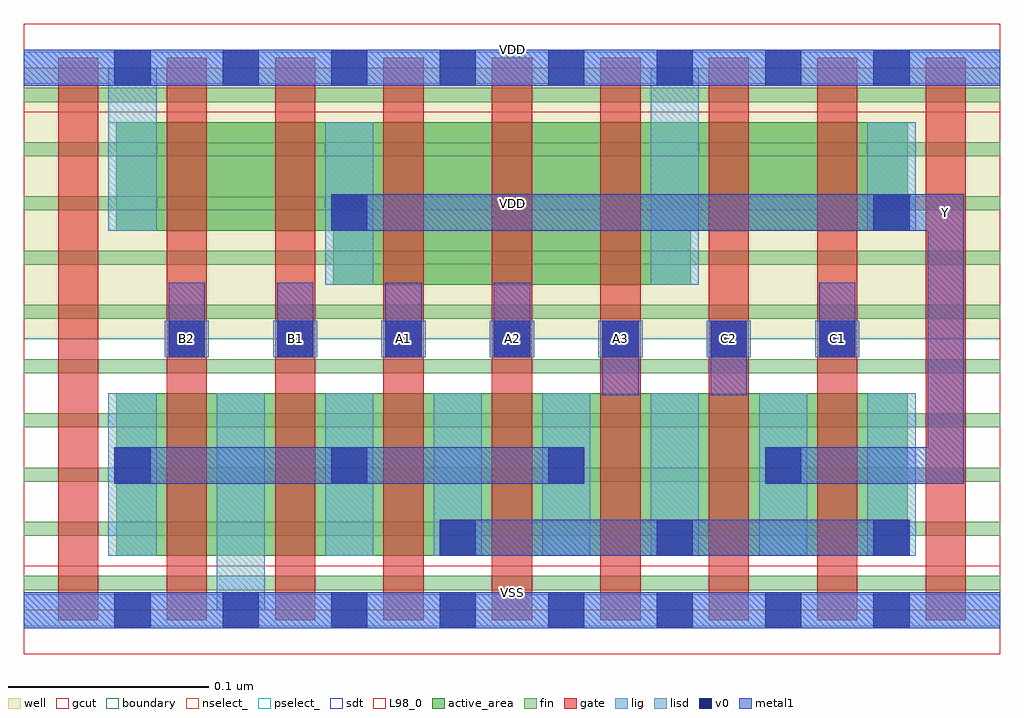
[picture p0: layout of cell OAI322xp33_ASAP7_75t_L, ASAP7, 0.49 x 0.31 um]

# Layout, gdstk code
import gdstk
lib = gdstk.Library(unit=1e-6, precision=2.5e-10)
def R(c, l, rs):  # rectangles x0, y0, x1, y1
    for r in rs: c.add(gdstk.rectangle(r[:2], r[2:], *l))
def A(c, l, x, y, w, h, nx, ny, dx, dy):  # array of equal rectangles
    R(c, l, [(x+i*dx, y+j*dy, x+i*dx+w, y+j*dy+h) for i in range(nx) for j in range(ny)])
def P(c, l, *ps):  # polygons
    for p in ps: c.add(gdstk.Polygon(p, *l))
well = (1, 0)
fin = (2, 0)
gate = (7, 0)
gcut = (10, 0)
active_area = (11, 0)
nselect_ = (12, 0)
pselect_ = (13, 0)
lig = (16, 0)
lisd = (17, 0)
v0 = (18, 0)
metal1 = (19, 0)
sdt = (88, 0)
L98_0 = (98, 0)
boundary = (100, 0)

oai322xp33_asap7_75t_l = lib.new_cell('OAI322xp33_ASAP7_75t_L')
R(oai322xp33_asap7_75t_l, well, [(0,0.135,0.486,0.27)])
A(oai322xp33_asap7_75t_l, fin, 0, 0.01, 0.486, 0.007, 1, 10, 0, 0.027)
A(oai322xp33_asap7_75t_l, gate, 0.017, -0.005, 0.02, 0.28, 9, 1, 0.054, 0)
R(oai322xp33_asap7_75t_l, gcut, [(0,-0.022,0.486,0.022), (0,0.248,0.486,0.292)])
R(oai322xp33_asap7_75t_l, active_area, [(0.046,0.027,0.44,0.108)])
P(oai322xp33_asap7_75t_l, active_area, [(0.44,0.243),(0.046,0.243),(0.046,0.189),(0.154,0.189),(0.154,0.162),(0.332,0.162),(0.332,0.189),(0.44,0.189)])
R(oai322xp33_asap7_75t_l, nselect_, [(0,0,0.486,0.135)])
R(oai322xp33_asap7_75t_l, pselect_, [(0,0.135,0.486,0.27)])
A(oai322xp33_asap7_75t_l, lig, 0.07, 0.126, 0.022, 0.018, 7, 1, 0.054, 0)
R(oai322xp33_asap7_75t_l, lig, [(0,-0.008,0.486,0.008), (0,0.262,0.486,0.278)])
A(oai322xp33_asap7_75t_l, lisd, 0.15, 0.027, 0.024, 0.081, 6, 1, 0.054, 0)
R(oai322xp33_asap7_75t_l, lisd, [(0.096,0,0.12,0.108), (0.096,0,0.12,0.108), (0.042,0.027,0.066,0.108), (0.15,0.162,0.174,0.243), (0.312,0.162,0.336,0.27), (0.312,0.162,0.336,0.27), (0.042,0.189,0.066,0.27), (0.042,0.189,0.066,0.27), (0.42,0.189,0.444,0.243)])
A(oai322xp33_asap7_75t_l, v0, 0.045, -0.009, 0.018, 0.018, 8, 2, 0.054, 0.27)
A(oai322xp33_asap7_75t_l, v0, 0.207, 0.027, 0.018, 0.018, 3, 1, 0.108, 0)
A(oai322xp33_asap7_75t_l, v0, 0.045, 0.063, 0.018, 0.018, 4, 1, 0.108, 0)
A(oai322xp33_asap7_75t_l, v0, 0.072, 0.126, 0.018, 0.018, 7, 1, 0.054, 0)
R(oai322xp33_asap7_75t_l, v0, [(0.153,0.189,0.171,0.207), (0.423,0.189,0.441,0.207)])
A(oai322xp33_asap7_75t_l, metal1, 0.207, 0.027, 0.018, 0.018, 3, 1, 0.108, 0)
A(oai322xp33_asap7_75t_l, metal1, 0.045, 0.063, 0.018, 0.018, 4, 1, 0.108, 0)
A(oai322xp33_asap7_75t_l, metal1, 0.072, 0.126, 0.018, 0.018, 7, 1, 0.054, 0)
A(oai322xp33_asap7_75t_l, metal1, 0.072, 0.126, 0.018, 0.037, 4, 1, 0.054, 0)
R(oai322xp33_asap7_75t_l, metal1, [(0,-0.009,0.486,0.009), (0.207,0.027,0.441,0.045), (0.045,0.063,0.279,0.081), (0.288,0.107,0.306,0.144), (0.342,0.107,0.36,0.144), (0.396,0.126,0.414,0.163), (0.153,0.189,0.171,0.207), (0.423,0.189,0.441,0.207), (0,0.261,0.486,0.279)])
P(oai322xp33_asap7_75t_l, metal1, [(0.153,0.207),(0.153,0.189),(0.45,0.189),(0.45,0.081),(0.369,0.081),(0.369,0.063),(0.468,0.063),(0.468,0.207)])
A(oai322xp33_asap7_75t_l, sdt, 0.096, 0.027, 0.024, 0.081, 7, 1, 0.054, 0)
R(oai322xp33_asap7_75t_l, sdt, [(0.042,0.027,0.066,0.108), (0.096,0.027,0.12,0.108), (0.15,0.162,0.174,0.243), (0.312,0.162,0.336,0.243), (0.312,0.162,0.336,0.243), (0.042,0.189,0.066,0.243), (0.042,0.189,0.066,0.243), (0.42,0.189,0.444,0.243)])
R(oai322xp33_asap7_75t_l, L98_0, [(0,0,0.486,0.27)])
R(oai322xp33_asap7_75t_l, boundary, [(0,0,0.486,0.27)])
oai322xp33_asap7_75t_l.add(gdstk.Label('VDD', (0.243,0.2025), layer=1, texttype=251))
oai322xp33_asap7_75t_l.add(gdstk.Label('VSS', (0.243,-0.0675), layer=3, texttype=251))
oai322xp33_asap7_75t_l.add(gdstk.Label('VSS', (0.243,0.009), layer=19, texttype=251))
oai322xp33_asap7_75t_l.add(gdstk.Label('VDD', (0.243,0.279), layer=19, texttype=251))
oai322xp33_asap7_75t_l.add(gdstk.Label('B2', (0.081,0.135), layer=19, texttype=251))
oai322xp33_asap7_75t_l.add(gdstk.Label('B1', (0.135,0.135), layer=19, texttype=251))
oai322xp33_asap7_75t_l.add(gdstk.Label('Y', (0.459,0.198), layer=19, texttype=251))
oai322xp33_asap7_75t_l.add(gdstk.Label('A1', (0.189,0.135), layer=19, texttype=251))
oai322xp33_asap7_75t_l.add(gdstk.Label('A2', (0.243,0.135), layer=19, texttype=251))
oai322xp33_asap7_75t_l.add(gdstk.Label('A3', (0.297,0.135), layer=19, texttype=251))
oai322xp33_asap7_75t_l.add(gdstk.Label('C2', (0.351,0.135), layer=19, texttype=251))
oai322xp33_asap7_75t_l.add(gdstk.Label('C1', (0.405,0.135), layer=19, texttype=251))

lib.write_gds('OAI322xp33_ASAP7_75t_L.gds')
